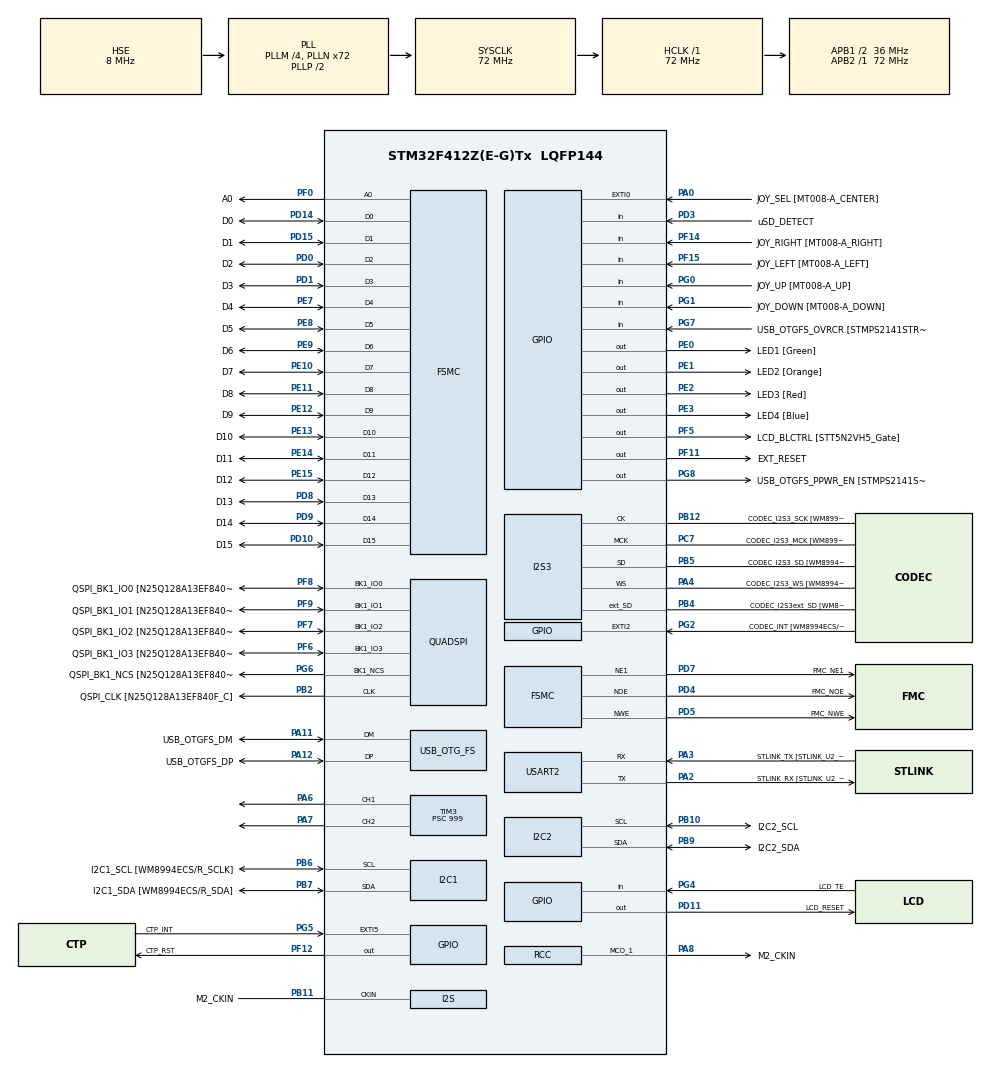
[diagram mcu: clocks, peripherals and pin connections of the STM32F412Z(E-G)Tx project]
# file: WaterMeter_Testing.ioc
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FREERTOS.Queues01=xQueuePower,3,POWER_t,0,Dynamic,NULL,NULL;xQueueMaxCurrent,10,float,0,Dynamic,NULL,NULL;xQueueLCDMaxCurrent,1,uint32_t,0,Dynamic,NULL,NULL;xQueueSensMaxCurrent,1,uint8_t,0,Dynamic,NULL,NULL;xQueueRstMaxCurrent,1,uint8_t,0,Dynamic,NULL,NULL
FREERTOS.Tasks01=defaultTask,24,128,StartDefaultTask,Default,NULL,Dynamic,NULL,NULL;LCDTask,9,128,StartLCDTask,Default,NULL,Dynamic,NULL,NULL;QspiTask,10,128,StartQspiTask,Default,NULL,Dynamic,NULL,NULL;sensTask,8,128,StartSensTask,Default,NULL,Dynamic,NULL,NULL;LightSensTask,8,128,StartLightSensTask,Default,NULL,Dynamic,NULL,NULL;GenWaterTask,10,128,StartGenWaterTask,Default,NULL,Dynamic,NULL,NULL
FREERTOS.configUSE_NEWLIB_REENTRANT=1
I2C2.I2C_Mode=I2C_Standard
I2S3.AudioFreq=I2S_AUDIOFREQ_32K
I2S3.ErrorAudioFreq=1.72 %
I2S3.FullDuplexMode=I2S_FULLDUPLEXMODE_ENABLE
I2S3.Instance=SPI$Index
I2S3.RealAudioFreq=32.552 KHz
I2S3.VirtualMode=I2S_MODE_MASTER
Mcu.Family=STM32F4
Mcu.Name=STM32F412Z(E-G)Tx
Mcu.Package=LQFP144
NVIC.EXTI0_IRQn=true\:5\:0\:false\:false\:true\:true\:true\:true\:true
NVIC.OTG_FS_IRQn=true\:5\:0\:false\:false\:true\:true\:true\:true\:true
NVIC.PriorityGroup=NVIC_PRIORITYGROUP_4
NVIC.TIM6_IRQn=true\:15\:0\:false\:false\:true\:false\:false\:true\:true
NVIC.TimeBase=TIM6_IRQn
NVIC.TimeBaseIP=TIM6
PA0.GPIO_Label=JOY_SEL [MT008-A_CENTER]
PA0.Signal=GPXTI0
PA10.GPIO_Label=USB_OTGFS_ID
PA10.Signal=USB_OTG_FS_ID
PA11.GPIO_Label=USB_OTGFS_DM
PA11.Mode=Host_Only
PA11.Signal=USB_OTG_FS_DM
PA12.GPIO_Label=USB_OTGFS_DP
PA12.Mode=Host_Only
PA12.Signal=USB_OTG_FS_DP
PA13.GPIO_Label=SWDIO
PA13.Mode=Serial_Wire
PA13.Signal=SYS_JTMS-SWDIO
PA14.GPIO_Label=SWCLK
PA14.Mode=Serial_Wire
PA14.Signal=SYS_JTCK-SWCLK
PA2.GPIO_Label=STLINK_RX [STLINK_U2_RX]
PA2.Mode=Asynchronous
PA2.Signal=USART2_TX
PA3.GPIO_Label=STLINK_TX [STLINK_U2_TX]
PA3.Mode=Asynchronous
PA3.Signal=USART2_RX
PA4.GPIO_Label=CODEC_I2S3_WS [WM8994ECS/R_LRCLK1]
PA4.Mode=Full_Duplex_Master
PA4.Signal=I2S3_WS
PA6.Signal=S_TIM3_CH1
PA7.Signal=S_TIM3_CH2
PA8.GPIO_Label=M2_CKIN
PA8.Mode=Clock-out-1
PA8.Signal=RCC_MCO_1
PA9.GPIO_Label=USB_OTGFS_VBUS
PA9.Signal=USB_OTG_FS_VBUS
PB1.GPIO_Label=DFSDM_DATIN0 [MP34DT01TR_DOUT]
PB1.Signal=S_DATAIN0DFSDM1
PB10.GPIO_Label=I2C2_SCL
PB10.GPIO_Pu=GPIO_PULLUP
PB10.Mode=I2C
PB10.Signal=I2C2_SCL
PB11.GPIO_Label=M2_CKIN
PB11.Mode=Audio_ClockIn
PB11.Signal=I2S_CKIN
PB12.GPIO_Label=CODEC_I2S3_SCK [WM8994ECS/R_BCLK1]
PB12.Mode=Full_Duplex_Master
PB12.Signal=I2S3_CK
PB2.GPIO_Label=QSPI_CLK [N25Q128A13EF840F_C]
PB2.Mode=Single Bank 1
PB2.Signal=QUADSPI_CLK
PB3.GPIO_Label=SWO
PB3.Signal=SYS_JTDO-SWO
PB4.GPIO_Label=CODEC_I2S3ext_SD [WM8994ECS/R_ACDAT1]
PB4.Mode=Full_Duplex_Master
PB4.Signal=I2S3_ext_SD
PB5.GPIO_Label=CODEC_I2S3_SD [WM8994ECS/R_DACDAT1]
PB5.Mode=Full_Duplex_Master
PB5.Signal=I2S3_SD
PB6.GPIO_Label=I2C1_SCL [WM8994ECS/R_SCLK]
PB6.GPIO_Pu=GPIO_PULLUP
PB6.Mode=I2C
PB6.Signal=I2C1_SCL
PB7.GPIO_Label=I2C1_SDA [WM8994ECS/R_SDA]
PB7.GPIO_Pu=GPIO_PULLUP
PB7.Mode=I2C
PB7.Signal=I2C1_SDA
PB9.GPIO_Label=I2C2_SDA
PB9.GPIO_Pu=GPIO_PULLUP
PB9.Mode=I2C
PB9.Signal=I2C2_SDA
PC14-OSC32_IN.Mode=LSE-External-Oscillator
PC14-OSC32_IN.Signal=RCC_OSC32_IN
PC15-OSC32_OUT.Mode=LSE-External-Oscillator
PC15-OSC32_OUT.Signal=RCC_OSC32_OUT
PC2.GPIO_Label=DFSDM_CKOUT [MP34DT01TR_CLK]
PC2.Signal=S_CKOUTDFSDM1
PC7.GPIO_Label=CODEC_I2S3_MCK [WM8994ECS/R_MCLK1]
PC7.Mode=Master_Clock_Activated
PC7.Signal=I2S3_MCK
PD0.GPIO_Label=D2
PD0.Signal=FSMC_D2_DA2
PD1.GPIO_Label=D3
PD1.Signal=FSMC_D3_DA3
PD10.GPIO_Label=D15
PD10.Signal=FSMC_D15_DA15
PD11.GPIO_Label=LCD_RESET
PD11.Signal=GPIO_Output
PD14.GPIO_Label=D0
PD14.Signal=FSMC_D0_DA0
PD15.GPIO_Label=D1
PD15.Signal=FSMC_D1_DA1
PD3.GPIO_Label=uSD_DETECT
PD3.Signal=GPIO_Input
PD4.GPIO_Label=FMC_NOE
PD4.Signal=FSMC_NOE
PD5.GPIO_Label=FMC_NWE
PD5.Signal=FSMC_NWE
PD7.GPIO_Label=FMC_NE1
PD7.Mode=NorPsramChipSelect1_1
PD7.Signal=FSMC_NE1
PD8.GPIO_Label=D13
PD8.Signal=FSMC_D13_DA13
PD9.GPIO_Label=D14
PD9.Signal=FSMC_D14_DA14
PE0.GPIO_Label=LED1 [Green]
PE0.GPIO_ModeDefaultOutputPP=GPIO_MODE_OUTPUT_OD
PE0.Signal=GPIO_Output
PE1.GPIO_Label=LED2 [Orange]
PE1.GPIO_ModeDefaultOutputPP=GPIO_MODE_OUTPUT_OD
PE1.Signal=GPIO_Output
PE10.GPIO_Label=D7
PE10.Signal=FSMC_D7_DA7
PE11.GPIO_Label=D8
PE11.Signal=FSMC_D8_DA8
PE12.GPIO_Label=D9
PE12.Signal=FSMC_D9_DA9
PE13.GPIO_Label=D10
PE13.Signal=FSMC_D10_DA10
PE14.GPIO_Label=D11
PE14.Signal=FSMC_D11_DA11
PE15.GPIO_Label=D12
PE15.Signal=FSMC_D12_DA12
PE2.GPIO_Label=LED3 [Red]
PE2.GPIO_ModeDefaultOutputPP=GPIO_MODE_OUTPUT_OD
PE2.Signal=GPIO_Output
PE3.GPIO_Label=LED4 [Blue]
PE3.GPIO_ModeDefaultOutputPP=GPIO_MODE_OUTPUT_OD
PE3.Signal=GPIO_Output
PE4.GPIO_Label=DFSDM_DATIN3 [MP23DB01MM_DOUT]
PE4.Signal=S_DATAIN3DFSDM1
PE7.GPIO_Label=D4
PE7.Signal=FSMC_D4_DA4
PE8.GPIO_Label=D5
PE8.Signal=FSMC_D5_DA5
PE9.GPIO_Label=D6
PE9.Signal=FSMC_D6_DA6
PF0.GPIO_Label=A0
PF0.Signal=FSMC_A0
PF11.GPIO_Label=EXT_RESET
PF11.Signal=GPIO_Output
PF12.GPIO_Label=CTP_RST
PF12.Signal=GPIO_Output
PF14.GPIO_Label=JOY_RIGHT [MT008-A_RIGHT]
PF14.Signal=GPIO_Input
PF15.GPIO_Label=JOY_LEFT [MT008-A_LEFT]
PF15.Signal=GPIO_Input
PF5.GPIO_Label=LCD_BLCTRL [STT5N2VH5_Gate]
PF5.Signal=GPIO_Output
PF6.GPIO_Label=QSPI_BK1_IO3 [N25Q128A13EF840F_DQ3]
PF6.Mode=Single Bank 1
PF6.Signal=QUADSPI_BK1_IO3
PF7.GPIO_Label=QSPI_BK1_IO2 [N25Q128A13EF840F_DQ2]
PF7.Mode=Single Bank 1
PF7.Signal=QUADSPI_BK1_IO2
PF8.GPIO_Label=QSPI_BK1_IO0 [N25Q128A13EF840F_DQ0]
PF8.Mode=Single Bank 1
PF8.Signal=QUADSPI_BK1_IO0
PF9.GPIO_Label=QSPI_BK1_IO1 [N25Q128A13EF840F_DQ1]
PF9.Mode=Single Bank 1
PF9.Signal=QUADSPI_BK1_IO1
PG0.GPIO_Label=JOY_UP [MT008-A_UP]
PG0.Signal=GPIO_Input
PG1.GPIO_Label=JOY_DOWN [MT008-A_DOWN]
PG1.Signal=GPIO_Input
PG2.GPIO_Label=CODEC_INT [WM8994ECS/R_ADCLRCLK1/GPIO1]
PG2.Signal=GPXTI2
PG4.GPIO_Label=LCD_TE
PG4.Signal=GPIO_Input
PG5.GPIO_Label=CTP_INT
PG5.Signal=GPXTI5
PG6.GPIO_Label=QSPI_BK1_NCS [N25Q128A13EF840F_S]
PG6.Mode=Single Bank 1
PG6.Signal=QUADSPI_BK1_NCS
PG7.GPIO_Label=USB_OTGFS_OVRCR [STMPS2141STR_FAULT]
PG7.Signal=GPIO_Input
PG8.GPIO_Label=USB_OTGFS_PPWR_EN [STMPS2141STR_EN]
PG8.GPIO_ModeDefaultOutputPP=GPIO_MODE_OUTPUT_OD
PG8.PinState=GPIO_PIN_SET
PG8.Signal=GPIO_Output
PH0\ -\ OSC_IN.GPIO_Label=STLK_MCO
PH0\ -\ OSC_IN.Mode=HSE-External-Clock-Source
PH0\ -\ OSC_IN.Signal=RCC_OSC_IN
PH1\ -\ OSC_OUT.Mode=HSE-External-Clock-Source
PH1\ -\ OSC_OUT.Signal=RCC_OSC_OUT
ProjectManager.HeapSize=0x200
ProjectManager.StackSize=0x400
ProjectManager.TargetToolchain=STM32CubeIDE
QUADSPI.ChipSelectHighTime=QSPI_CS_HIGH_TIME_5_CYCLE
QUADSPI.ClockPrescaler=0
QUADSPI.FifoThreshold=4
QUADSPI.FlashSize=24
QUADSPI.SampleShifting=QSPI_SAMPLE_SHIFTING_HALFCYCLE
RCC.48MHZClocksFreq_Value=48000000
RCC.AHBFreq_Value=72000000
RCC.APB1CLKDivider=RCC_HCLK_DIV2
RCC.APB1Freq_Value=36000000
RCC.APB1TimFreq_Value=72000000
RCC.APB2Freq_Value=72000000
RCC.APB2TimFreq_Value=72000000
RCC.CortexFreq_Value=72000000
RCC.HCLKFreq_Value=72000000
RCC.HSE_VALUE=8000000
RCC.HSI_VALUE=16000000
RCC.PLLI2SM=4
RCC.PLLI2SN=50
RCC.PLLM=4
RCC.PLLN=72
RCC.PLLQ=3
RCC.SYSCLKFreq_VALUE=72000000
RCC.SYSCLKSource=RCC_SYSCLKSOURCE_PLLCLK
RCC.USBFreq_Value=48000000
RCC.VCOOutputFreq_Value=144000000
SH.FSMC_A0.0=FSMC_A0,A0_1
SH.FSMC_D0_DA0.0=FSMC_D0,16b-d1
SH.FSMC_D10_DA10.0=FSMC_D10,16b-d1
SH.FSMC_D11_DA11.0=FSMC_D11,16b-d1
SH.FSMC_D12_DA12.0=FSMC_D12,16b-d1
SH.FSMC_D13_DA13.0=FSMC_D13,16b-d1
SH.FSMC_D14_DA14.0=FSMC_D14,16b-d1
SH.FSMC_D15_DA15.0=FSMC_D15,16b-d1
SH.FSMC_D1_DA1.0=FSMC_D1,16b-d1
SH.FSMC_D2_DA2.0=FSMC_D2,16b-d1
SH.FSMC_D3_DA3.0=FSMC_D3,16b-d1
SH.FSMC_D4_DA4.0=FSMC_D4,16b-d1
SH.FSMC_D5_DA5.0=FSMC_D5,16b-d1
SH.FSMC_D6_DA6.0=FSMC_D6,16b-d1
SH.FSMC_D7_DA7.0=FSMC_D7,16b-d1
SH.FSMC_D8_DA8.0=FSMC_D8,16b-d1
SH.FSMC_D9_DA9.0=FSMC_D9,16b-d1
SH.FSMC_NOE.0=FSMC_NOE,Lcd1
SH.FSMC_NWE.0=FSMC_NWE,Lcd1
SH.S_CKOUTDFSDM1.0=DFSDM1_CKOUT
SH.S_DATAIN0DFSDM1.0=DFSDM1_DATIN0
SH.S_DATAIN3DFSDM1.0=DFSDM1_DATIN3
SH.S_TIM3_CH1.0=TIM3_CH1,Output Compare1 CH1
SH.S_TIM3_CH2.0=TIM3_CH2,Output Compare2 CH2
STMicroelectronics.X-CUBE-TOUCHGFX.4.20.0.tgfx_custom_height=240
STMicroelectronics.X-CUBE-TOUCHGFX.4.20.0.tgfx_custom_width=240
STMicroelectronics.X-CUBE-TOUCHGFX.4.20.0.tgfx_datareader=Disabled
STMicroelectronics.X-CUBE-TOUCHGFX.4.20.0.tgfx_display_interface=disp_fmc
STMicroelectronics.X-CUBE-TOUCHGFX.4.20.0_IsPackSelfContextualization=true
TIM3.AutoReloadPreload=TIM_AUTORELOAD_PRELOAD_ENABLE
TIM3.Channel-Output\ Compare1\ CH1=TIM_CHANNEL_1
TIM3.Channel-Output\ Compare2\ CH2=TIM_CHANNEL_2
TIM3.OCMode_1=TIM_OCMODE_TOGGLE
TIM3.OCMode_2=TIM_OCMODE_TOGGLE
TIM3.Period=142
TIM3.Prescaler=999
TIM3.Pulse-Output\ Compare1\ CH1=34
TIM3.Pulse-Output\ Compare2\ CH2=2
TIM3.TIM_MasterOutputTrigger=TIM_TRGO_UPDATE
USART2.VirtualMode=VM_ASYNC
USB_HOST.BSP.number=1
USB_HOST.USBH_HandleTypeDef=hUsbHostFS
USB_HOST.VirtualModeFS=Cdc
USB_HOST0.BSP.STBoard=false
USB_HOST0.BSP.api=Unknown
USB_HOST0.BSP.instance=PG8
USB_HOST0.BSP.ip=GPIO
USB_HOST0.BSP.mode=Output
USB_HOST0.BSP.name=Drive_VBUS_FS
USB_HOST0.BSP.solution=PG8
USB_OTG_FS.VirtualMode=Host_Only
USB_OTG_FS.phy_itface=HCD_PHY_EMBEDDED
VP_CRC_VS_CRC.Mode=CRC_Activate
VP_FREERTOS_VS_CMSIS_V2.Mode=CMSIS_V2
VP_SYS_VS_tim6.Mode=TIM6
VP_USB_HOST_VS_USB_HOST_CDC_FS.Mode=CDC_FS
board=STM32F412G-DISCO

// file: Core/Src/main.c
/* USER CODE BEGIN Header */
/**
  ******************************************************************************
  * @file           : main.c
  * @brief          : Main program body
  ******************************************************************************
  * @attention
  *
  * Copyright (c) 2022 STMicroelectronics.
  * All rights reserved.
  *
  * This software is licensed under terms that can be found in the LICENSE file
  * in the root directory of this software component.
  * If no LICENSE file comes with this software, it is provided AS-IS.
  *
  ******************************************************************************
  */
/* USER CODE END Header */
#include "main.h"
#include "cmsis_os.h"
#include "usb_host.h"

/* USER CODE BEGIN PTD */
#define  CIRCLE_RADIUS        37
/* USER CODE END PTD */

CRC_HandleTypeDef hcrc;

I2C_HandleTypeDef hi2c1;
I2C_HandleTypeDef hi2c2;

I2S_HandleTypeDef hi2s3;

QSPI_HandleTypeDef hqspi;

TIM_HandleTypeDef htim3;

UART_HandleTypeDef huart2;

SRAM_HandleTypeDef hsram1;

/* Definitions for defaultTask */
osThreadId_t defaultTaskHandle;
const osThreadAttr_t defaultTask_attributes = {
  .name = "defaultTask",
  .stack_size = 128 * 4,
  .priority = (osPriority_t) osPriorityNormal,
};
/* Definitions for LCDTask */
osThreadId_t LCDTaskHandle;
const osThreadAttr_t LCDTask_attributes = {
  .name = "LCDTask",
  .stack_size = 128 * 4,
  .priority = (osPriority_t) osPriorityLow1,
};
/* Definitions for QspiTask */
osThreadId_t QspiTaskHandle;
const osThreadAttr_t QspiTask_attributes = {
  .name = "QspiTask",
  .stack_size = 128 * 4,
  .priority = (osPriority_t) osPriorityLow2,
};
/* Definitions for sensTask */
osThreadId_t sensTaskHandle;
const osThreadAttr_t sensTask_attributes = {
  .name = "sensTask",
  .stack_size = 128 * 4,
  .priority = (osPriority_t) osPriorityLow,
};
/* Definitions for GenWaterTask */
osThreadId_t GenWaterTaskHandle;
const osThreadAttr_t GenWaterTask_attributes = {
  .name = "GenWaterTask",
  .stack_size = 128 * 4,
  .priority = (osPriority_t) osPriorityLow2,
};
/* Definitions for xQueuePower */
osMessageQueueId_t xQueuePowerHandle;
const osMessageQueueAttr_t xQueuePower_attributes = {
  .name = "xQueuePower"
};
/* Definitions for xQueueMaxCurrent */
osMessageQueueId_t xQueueMaxCurrentHandle;
const osMessageQueueAttr_t xQueueMaxCurrent_attributes = {
  .name = "xQueueMaxCurrent"
};
/* Definitions for xQueueLCDMaxCurrent */
osMessageQueueId_t xQueueLCDMaxCurrentHandle;
const osMessageQueueAttr_t xQueueLCDMaxCurrent_attributes = {
  .name = "xQueueLCDMaxCurrent"
};
/* Definitions for xQueueSensMaxCurrent */
osMessageQueueId_t xQueueSensMaxCurrentHandle;
const osMessageQueueAttr_t xQueueSensMaxCurrent_attributes = {
  .name = "xQueueSensMaxCurrent"
};
/* Definitions for xQueueRstMaxCurrent */
osMessageQueueId_t xQueueRstMaxCurrentHandle;
const osMessageQueueAttr_t xQueueRstMaxCurrent_attributes = {
  .name = "xQueueRstMaxCurrent"
};
/* USER CODE BEGIN PV */
//uint32_t ts_count = 0;
TS_StateTypeDef  TS_State = {0};
//__attribute__((section(".noinit")))
/* USER CODE END PV */

void SystemClock_Config(void);
static void MX_GPIO_Init(void);
static void MX_FSMC_Init(void);
static void MX_I2C1_Init(void);
static void MX_I2C2_Init(void);
static void MX_I2S3_Init(void);
static void MX_QUADSPI_Init(void);
static void MX_USART2_UART_Init(void);
static void MX_CRC_Init(void);
static void MX_TIM3_Init(void);
void StartDefaultTask(void *argument);
void StartLCDTask(void *argument);
void StartQspiTask(void *argument);
void StartSensTask(void *argument);
void StartLightSensTask(void *argument);
void StartGenWaterTask(void *argument);

/* USER CODE BEGIN 0 */
void _putchar(char character)
{
//    ITM_SendChar(character);
    HAL_UART_Transmit(&huart2, &character, 1, 100);
}

void lcd_initialization()
{
    BSP_LCD_Init();
    BSP_LCD_Clear(LCD_COLOR_GRAY);
    BSP_LCD_SetBackColor(LCD_COLOR_GRAY);
    BSP_LCD_SetTextColor(LCD_COLOR_BLUE);
    BSP_LCD_SetFont(&Font24);
}

void lcd_display_message(uint16_t LINE, uint32_t val, float val2, char* msg_str)
{
    static uint8_t dataQueue[16];
    sprintf((char *) dataQueue, msg_str, val2 ? val2 : val);
    BSP_LCD_DisplayStringAt(0, LINE, dataQueue, LEFT_MODE);
}
/* USER CODE END 0 */

int main(void)
{

  /* MCU Configuration--------------------------------------------------------*/

  /* Reset of all peripherals, Initializes the Flash interface and the Systick. */
  HAL_Init();

  /* Configure the system clock */
  SystemClock_Config();

  /* Initialize all configured peripherals */
  MX_GPIO_Init();
  MX_FSMC_Init();
  MX_I2C1_Init();
  MX_I2C2_Init();
  MX_I2S3_Init();
  MX_QUADSPI_Init();
  MX_USART2_UART_Init();
  MX_CRC_Init();
  MX_TIM3_Init();

  /* Init scheduler */
  osKernelInitialize();

  /* Create the queue(s) */
  /* creation of xQueuePower */
  xQueuePowerHandle = osMessageQueueNew (3, sizeof(POWER_t), &xQueuePower_attributes);

  /* creation of xQueueMaxCurrent */
  xQueueMaxCurrentHandle = osMessageQueueNew (10, sizeof(float), &xQueueMaxCurrent_attributes);

  /* creation of xQueueLCDMaxCurrent */
  xQueueLCDMaxCurrentHandle = osMessageQueueNew (1, sizeof(uint32_t), &xQueueLCDMaxCurrent_attributes);

  /* creation of xQueueSensMaxCurrent */
  xQueueSensMaxCurrentHandle = osMessageQueueNew (1, sizeof(uint8_t), &xQueueSensMaxCurrent_attributes);

  /* creation of xQueueRstMaxCurrent */
  xQueueRstMaxCurrentHandle = osMessageQueueNew (1, sizeof(uint8_t), &xQueueRstMaxCurrent_attributes);

  /* Create the thread(s) */
  /* creation of defaultTask */
  defaultTaskHandle = osThreadNew(StartDefaultTask, NULL, &defaultTask_attributes);

  /* creation of LCDTask */
  LCDTaskHandle = osThreadNew(StartLCDTask, NULL, &LCDTask_attributes);

  /* creation of QspiTask */
  QspiTaskHandle = osThreadNew(StartQspiTask, NULL, &QspiTask_attributes);

  /* creation of sensTask */
  sensTaskHandle = osThreadNew(StartSensTask, NULL, &sensTask_attributes);

  /* creation of LightSensTask */
//  LightSensTaskHandle = osThreadNew(StartLightSensTask, NULL, &LightSensTask_attributes);

  /* creation of GenWaterTask */
//  GenWaterTaskHandle = osThreadNew(StartGenWaterTask, NULL, &GenWaterTask_attributes);

  /* Start scheduler */
  osKernelStart();

  /* We should never get here as control is now taken by the scheduler */
  /* Infinite loop */
  /* USER CODE BEGIN WHILE */
    printf("START");

//    HAL_TIM_OC_Start(&htim3, TIM_CHANNEL_2);
//    HAL_I2C_Master_Seq_Transmit_DMA()

  while (1)
  {
    /* USER CODE END WHILE */

    /* USER CODE BEGIN 3 */

//            if(TS_State.touchDetected)
//      {
//          x1 = TS_State.touchX[0];
//          y1 = TS_State.touchY[0];
//
//          if((y1>83) && (y1<157)){
//              BSP_LCD_SetTextColor(LCD_COLOR_BLUE);
//              BSP_LCD_FillCircle(60, 120, CIRCLE_RADIUS);
//              BSP_LCD_SetTextColor(LCD_COLOR_WHITE);
//              BSP_LCD_FillCircle(180, 120, CIRCLE_RADIUS-1);
//              BSP_LCD_FillCircle(60, 200, CIRCLE_RADIUS-1);
//              BSP_LCD_FillCircle(180, 200, CIRCLE_RADIUS-1);
//          }
//      }

  }
  /* USER CODE END 3 */
}

void SystemClock_Config(void)
{
  RCC_OscInitTypeDef RCC_OscInitStruct = {0};
  RCC_ClkInitTypeDef RCC_ClkInitStruct = {0};

  /** Configure the main internal regulator output voltage
  */
  __HAL_RCC_PWR_CLK_ENABLE();
  __HAL_PWR_VOLTAGESCALING_CONFIG(PWR_REGULATOR_VOLTAGE_SCALE1);

  /** Initializes the RCC Oscillators according to the specified parameters
  * in the RCC_OscInitTypeDef structure.
  */
  RCC_OscInitStruct.OscillatorType = RCC_OSCILLATORTYPE_HSI|RCC_OSCILLATORTYPE_HSE;
  RCC_OscInitStruct.HSEState = RCC_HSE_BYPASS;
  RCC_OscInitStruct.HSIState = RCC_HSI_ON;
  RCC_OscInitStruct.HSICalibrationValue = RCC_HSICALIBRATION_DEFAULT;
  RCC_OscInitStruct.PLL.PLLState = RCC_PLL_ON;
  RCC_OscInitStruct.PLL.PLLSource = RCC_PLLSOURCE_HSE;
  RCC_OscInitStruct.PLL.PLLM = 4;
  RCC_OscInitStruct.PLL.PLLN = 72;
  RCC_OscInitStruct.PLL.PLLP = RCC_PLLP_DIV2;
  RCC_OscInitStruct.PLL.PLLQ = 3;
  RCC_OscInitStruct.PLL.PLLR = 2;
  if (HAL_RCC_OscConfig(&RCC_OscInitStruct) != HAL_OK)
  {
    Error_Handler();
  }

  /** Initializes the CPU, AHB and APB buses clocks
  */
  RCC_ClkInitStruct.ClockType = RCC_CLOCKTYPE_HCLK|RCC_CLOCKTYPE_SYSCLK
                              |RCC_CLOCKTYPE_PCLK1|RCC_CLOCKTYPE_PCLK2;
  RCC_ClkInitStruct.SYSCLKSource = RCC_SYSCLKSOURCE_PLLCLK;
  RCC_ClkInitStruct.AHBCLKDivider = RCC_SYSCLK_DIV1;
  RCC_ClkInitStruct.APB1CLKDivider = RCC_HCLK_DIV2;
  RCC_ClkInitStruct.APB2CLKDivider = RCC_HCLK_DIV1;

  if (HAL_RCC_ClockConfig(&RCC_ClkInitStruct, FLASH_LATENCY_2) != HAL_OK)
  {
    Error_Handler();
  }
  HAL_RCC_MCOConfig(RCC_MCO1, RCC_MCO1SOURCE_HSI, RCC_MCODIV_1);
}

static void MX_CRC_Init(void)
{

  hcrc.Instance = CRC;
  if (HAL_CRC_Init(&hcrc) != HAL_OK)
  {
    Error_Handler();
  }

}

static void MX_I2C1_Init(void)
{

  hi2c1.Instance = I2C1;
  hi2c1.Init.ClockSpeed = 100000;
  hi2c1.Init.DutyCycle = I2C_DUTYCYCLE_2;
  hi2c1.Init.OwnAddress1 = 0;
  hi2c1.Init.AddressingMode = I2C_ADDRESSINGMODE_7BIT;
  hi2c1.Init.DualAddressMode = I2C_DUALADDRESS_DISABLE;
  hi2c1.Init.OwnAddress2 = 0;
  hi2c1.Init.GeneralCallMode = I2C_GENERALCALL_DISABLE;
  hi2c1.Init.NoStretchMode = I2C_NOSTRETCH_DISABLE;
  if (HAL_I2C_Init(&hi2c1) != HAL_OK)
  {
    Error_Handler();
  }

}

static void MX_I2C2_Init(void)
{

  hi2c2.Instance = I2C2;
  hi2c2.Init.ClockSpeed = 100000;
  hi2c2.Init.DutyCycle = I2C_DUTYCYCLE_2;
  hi2c2.Init.OwnAddress1 = 0;
  hi2c2.Init.AddressingMode = I2C_ADDRESSINGMODE_7BIT;
  hi2c2.Init.DualAddressMode = I2C_DUALADDRESS_DISABLE;
  hi2c2.Init.OwnAddress2 = 0;
  hi2c2.Init.GeneralCallMode = I2C_GENERALCALL_DISABLE;
  hi2c2.Init.NoStretchMode = I2C_NOSTRETCH_DISABLE;
  if (HAL_I2C_Init(&hi2c2) != HAL_OK)
  {
    Error_Handler();
  }

}

static void MX_I2S3_Init(void)
{

  hi2s3.Instance = SPI3;
  hi2s3.Init.Mode = I2S_MODE_MASTER_TX;
  hi2s3.Init.Standard = I2S_STANDARD_PHILIPS;
  hi2s3.Init.DataFormat = I2S_DATAFORMAT_16B;
  hi2s3.Init.MCLKOutput = I2S_MCLKOUTPUT_ENABLE;
  hi2s3.Init.AudioFreq = I2S_AUDIOFREQ_32K;
  hi2s3.Init.CPOL = I2S_CPOL_LOW;
  hi2s3.Init.ClockSource = I2S_CLOCK_PLL;
  hi2s3.Init.FullDuplexMode = I2S_FULLDUPLEXMODE_ENABLE;
  if (HAL_I2S_Init(&hi2s3) != HAL_OK)
  {
    Error_Handler();
  }

}

static void MX_QUADSPI_Init(void)
{

  /* QUADSPI parameter configuration*/
  hqspi.Instance = QUADSPI;
  hqspi.Init.ClockPrescaler = 0;
  hqspi.Init.FifoThreshold = 4;
  hqspi.Init.SampleShifting = QSPI_SAMPLE_SHIFTING_HALFCYCLE;
  hqspi.Init.FlashSize = 24;
  hqspi.Init.ChipSelectHighTime = QSPI_CS_HIGH_TIME_5_CYCLE;
  hqspi.Init.ClockMode = QSPI_CLOCK_MODE_0;
  hqspi.Init.FlashID = QSPI_FLASH_ID_1;
  hqspi.Init.DualFlash = QSPI_DUALFLASH_DISABLE;
  if (HAL_QSPI_Init(&hqspi) != HAL_OK)
  {
    Error_Handler();
  }

}

static void MX_TIM3_Init(void)
{

  TIM_MasterConfigTypeDef sMasterConfig = {0};
  TIM_OC_InitTypeDef sConfigOC = {0};

  htim3.Instance = TIM3;
  htim3.Init.Prescaler = 999;
  htim3.Init.CounterMode = TIM_COUNTERMODE_UP;
  htim3.Init.Period = 142;
  htim3.Init.ClockDivision = TIM_CLOCKDIVISION_DIV1;
  htim3.Init.AutoReloadPreload = TIM_AUTORELOAD_PRELOAD_ENABLE;
  if (HAL_TIM_OC_Init(&htim3) != HAL_OK)
  {
    Error_Handler();
  }
  sMasterConfig.MasterOutputTrigger = TIM_TRGO_UPDATE;
  sMasterConfig.MasterSlaveMode = TIM_MASTERSLAVEMODE_DISABLE;
  if (HAL_TIMEx_MasterConfigSynchronization(&htim3, &sMasterConfig) != HAL_OK)
  {
    Error_Handler();
  }
  sConfigOC.OCMode = TIM_OCMODE_TOGGLE;
  sConfigOC.Pulse = 34;
  sConfigOC.OCPolarity = TIM_OCPOLARITY_HIGH;
  sConfigOC.OCFastMode = TIM_OCFAST_DISABLE;
  if (HAL_TIM_OC_ConfigChannel(&htim3, &sConfigOC, TIM_CHANNEL_1) != HAL_OK)
  {
    Error_Handler();
  }
  sConfigOC.Pulse = 2;
  if (HAL_TIM_OC_ConfigChannel(&htim3, &sConfigOC, TIM_CHANNEL_2) != HAL_OK)
  {
    Error_Handler();
  }
  HAL_TIM_MspPostInit(&htim3);

}

static void MX_USART2_UART_Init(void)
{

  huart2.Instance = USART2;
  huart2.Init.BaudRate = 115200;
  huart2.Init.WordLength = UART_WORDLENGTH_8B;
  huart2.Init.StopBits = UART_STOPBITS_1;
  huart2.Init.Parity = UART_PARITY_NONE;
  huart2.Init.Mode = UART_MODE_TX_RX;
  huart2.Init.HwFlowCtl = UART_HWCONTROL_NONE;
  huart2.Init.OverSampling = UART_OVERSAMPLING_16;
  if (HAL_UART_Init(&huart2) != HAL_OK)
  {
    Error_Handler();
  }

}

static void MX_GPIO_Init(void)
{
  GPIO_InitTypeDef GPIO_InitStruct = {0};

  /* GPIO Ports Clock Enable */
  __HAL_RCC_GPIOE_CLK_ENABLE();
  __HAL_RCC_GPIOC_CLK_ENABLE();
  __HAL_RCC_GPIOF_CLK_ENABLE();
  __HAL_RCC_GPIOH_CLK_ENABLE();
  __HAL_RCC_GPIOA_CLK_ENABLE();
  __HAL_RCC_GPIOB_CLK_ENABLE();
  __HAL_RCC_GPIOG_CLK_ENABLE();
  __HAL_RCC_GPIOD_CLK_ENABLE();

  /*Configure GPIO pin Output Level */
  HAL_GPIO_WritePin(GPIOE, LED3_Pin|LED4_Pin|LED1_Pin|LED2_Pin, GPIO_PIN_RESET);

  /*Configure GPIO pin Output Level */
  HAL_GPIO_WritePin(GPIOF, LCD_BLCTRL_Pin|EXT_RESET_Pin|CTP_RST_Pin, GPIO_PIN_RESET);

  /*Configure GPIO pin Output Level */
  HAL_GPIO_WritePin(LCD_RESET_GPIO_Port, LCD_RESET_Pin, GPIO_PIN_RESET);

  /*Configure GPIO pin Output Level */
  HAL_GPIO_WritePin(USB_OTGFS_PPWR_EN_GPIO_Port, USB_OTGFS_PPWR_EN_Pin, GPIO_PIN_SET);

  /*Configure GPIO pins : LED3_Pin LED4_Pin LED1_Pin LED2_Pin */
  GPIO_InitStruct.Pin = LED3_Pin|LED4_Pin|LED1_Pin|LED2_Pin;
  GPIO_InitStruct.Mode = GPIO_MODE_OUTPUT_OD;
  GPIO_InitStruct.Pull = GPIO_NOPULL;
  GPIO_InitStruct.Speed = GPIO_SPEED_FREQ_LOW;
  HAL_GPIO_Init(GPIOE, &GPIO_InitStruct);

  /*Configure GPIO pin : DFSDM_DATIN3_Pin */
  GPIO_InitStruct.Pin = DFSDM_DATIN3_Pin;
  GPIO_InitStruct.Mode = GPIO_MODE_AF_PP;
  GPIO_InitStruct.Pull = GPIO_NOPULL;
  GPIO_InitStruct.Speed = GPIO_SPEED_FREQ_LOW;
  GPIO_InitStruct.Alternate = GPIO_AF8_DFSDM1;
  HAL_GPIO_Init(DFSDM_DATIN3_GPIO_Port, &GPIO_InitStruct);

  /*Configure GPIO pins : LCD_BLCTRL_Pin EXT_RESET_Pin CTP_RST_Pin */
  GPIO_InitStruct.Pin = LCD_BLCTRL_Pin|EXT_RESET_Pin|CTP_RST_Pin;
  GPIO_InitStruct.Mode = GPIO_MODE_OUTPUT_PP;
  GPIO_InitStruct.Pull = GPIO_NOPULL;
  GPIO_InitStruct.Speed = GPIO_SPEED_FREQ_LOW;
  HAL_GPIO_Init(GPIOF, &GPIO_InitStruct);

  /*Configure GPIO pin : DFSDM_CKOUT_Pin */
  GPIO_InitStruct.Pin = DFSDM_CKOUT_Pin;
  GPIO_InitStruct.Mode = GPIO_MODE_AF_PP;
  GPIO_InitStruct.Pull = GPIO_NOPULL;
  GPIO_InitStruct.Speed = GPIO_SPEED_FREQ_LOW;
  GPIO_InitStruct.Alternate = GPIO_AF8_DFSDM1;
  HAL_GPIO_Init(DFSDM_CKOUT_GPIO_Port, &GPIO_InitStruct);

  /*Configure GPIO pin : JOY_SEL_Pin */
  GPIO_InitStruct.Pin = JOY_SEL_Pin;
  GPIO_InitStruct.Mode = GPIO_MODE_IT_RISING;
  GPIO_InitStruct.Pull = GPIO_NOPULL;
  HAL_GPIO_Init(JOY_SEL_GPIO_Port, &GPIO_InitStruct);

  /*Configure GPIO pin : DFSDM_DATIN0_Pin */
  GPIO_InitStruct.Pin = DFSDM_DATIN0_Pin;
  GPIO_InitStruct.Mode = GPIO_MODE_AF_PP;
  GPIO_InitStruct.Pull = GPIO_NOPULL;
  GPIO_InitStruct.Speed = GPIO_SPEED_FREQ_LOW;
  GPIO_InitStruct.Alternate = GPIO_AF8_DFSDM1;
  HAL_GPIO_Init(DFSDM_DATIN0_GPIO_Port, &GPIO_InitStruct);

  /*Configure GPIO pins : JOY_RIGHT_Pin JOY_LEFT_Pin */
  GPIO_InitStruct.Pin = JOY_RIGHT_Pin|JOY_LEFT_Pin;
  GPIO_InitStruct.Mode = GPIO_MODE_INPUT;
  GPIO_InitStruct.Pull = GPIO_NOPULL;
  HAL_GPIO_Init(GPIOF, &GPIO_InitStruct);

  /*Configure GPIO pins : JOY_UP_Pin JOY_DOWN_Pin LCD_TE_Pin USB_OTGFS_OVRCR_Pin */
  GPIO_InitStruct.Pin = JOY_UP_Pin|JOY_DOWN_Pin|LCD_TE_Pin|USB_OTGFS_OVRCR_Pin;
  GPIO_InitStruct.Mode = GPIO_MODE_INPUT;
  GPIO_InitStruct.Pull = GPIO_NOPULL;
  HAL_GPIO_Init(GPIOG, &GPIO_InitStruct);

  /*Configure GPIO pin : M2_CKIN_Pin */
  GPIO_InitStruct.Pin = M2_CKIN_Pin;
  GPIO_InitStruct.Mode = GPIO_MODE_AF_PP;
  GPIO_InitStruct.Pull = GPIO_NOPULL;
  GPIO_InitStruct.Speed = GPIO_SPEED_FREQ_LOW;
  GPIO_InitStruct.Alternate = GPIO_AF5_SPI1;
  HAL_GPIO_Init(M2_CKIN_GPIO_Port, &GPIO_InitStruct);

  /*Configure GPIO pin : LCD_RESET_Pin */
  GPIO_InitStruct.Pin = LCD_RESET_Pin;
  GPIO_InitStruct.Mode = GPIO_MODE_OUTPUT_PP;
  GPIO_InitStruct.Pull = GPIO_NOPULL;
  GPIO_InitStruct.Speed = GPIO_SPEED_FREQ_LOW;
  HAL_GPIO_Init(LCD_RESET_GPIO_Port, &GPIO_InitStruct);

  /*Configure GPIO pins : CODEC_INT_Pin CTP_INT_Pin */
  GPIO_InitStruct.Pin = CODEC_INT_Pin|CTP_INT_Pin;
  GPIO_InitStruct.Mode = GPIO_MODE_IT_RISING;
  GPIO_InitStruct.Pull = GPIO_NOPULL;
  HAL_GPIO_Init(GPIOG, &GPIO_InitStruct);

  /*Configure GPIO pin : USB_OTGFS_PPWR_EN_Pin */
  GPIO_InitStruct.Pin = USB_OTGFS_PPWR_EN_Pin;
  GPIO_InitStruct.Mode = GPIO_MODE_OUTPUT_OD;
  GPIO_InitStruct.Pull = GPIO_NOPULL;
  GPIO_InitStruct.Speed = GPIO_SPEED_FREQ_LOW;
  HAL_GPIO_Init(USB_OTGFS_PPWR_EN_GPIO_Port, &GPIO_InitStruct);

  /*Configure GPIO pin : M2_CKINA8_Pin */
  GPIO_InitStruct.Pin = M2_CKINA8_Pin;
  GPIO_InitStruct.Mode = GPIO_MODE_AF_PP;
  GPIO_InitStruct.Pull = GPIO_NOPULL;
  GPIO_InitStruct.Speed = GPIO_SPEED_FREQ_LOW;
  GPIO_InitStruct.Alternate = GPIO_AF0_MCO;
  HAL_GPIO_Init(M2_CKINA8_GPIO_Port, &GPIO_InitStruct);

  /*Configure GPIO pin : uSD_DETECT_Pin */
  GPIO_InitStruct.Pin = uSD_DETECT_Pin;
  GPIO_InitStruct.Mode = GPIO_MODE_INPUT;
  GPIO_InitStruct.Pull = GPIO_NOPULL;
  HAL_GPIO_Init(uSD_DETECT_GPIO_Port, &GPIO_InitStruct);

  /* EXTI interrupt init*/
  HAL_NVIC_SetPriority(EXTI0_IRQn, 5, 0);
  HAL_NVIC_EnableIRQ(EXTI0_IRQn);

}

/* FSMC initialization function */
static void MX_FSMC_Init(void)
{

  FSMC_NORSRAM_TimingTypeDef Timing = {0};

  /** Perform the SRAM1 memory initialization sequence
  */
  hsram1.Instance = FSMC_NORSRAM_DEVICE;
  hsram1.Extended = FSMC_NORSRAM_EXTENDED_DEVICE;
  /* hsram1.Init */
  hsram1.Init.NSBank = FSMC_NORSRAM_BANK1;
  hsram1.Init.DataAddressMux = FSMC_DATA_ADDRESS_MUX_DISABLE;
  hsram1.Init.MemoryType = FSMC_MEMORY_TYPE_SRAM;
  hsram1.Init.MemoryDataWidth = FSMC_NORSRAM_MEM_BUS_WIDTH_16;
  hsram1.Init.BurstAccessMode = FSMC_BURST_ACCESS_MODE_DISABLE;
  hsram1.Init.WaitSignalPolarity = FSMC_WAIT_SIGNAL_POLARITY_LOW;
  hsram1.Init.WaitSignalActive = FSMC_WAIT_TIMING_BEFORE_WS;
  hsram1.Init.WriteOperation = FSMC_WRITE_OPERATION_ENABLE;
  hsram1.Init.WaitSignal = FSMC_WAIT_SIGNAL_DISABLE;
  hsram1.Init.ExtendedMode = FSMC_EXTENDED_MODE_DISABLE;
  hsram1.Init.AsynchronousWait = FSMC_ASYNCHRONOUS_WAIT_DISABLE;
  hsram1.Init.WriteBurst = FSMC_WRITE_BURST_DISABLE;
  hsram1.Init.ContinuousClock = FSMC_CONTINUOUS_CLOCK_SYNC_ONLY;
  hsram1.Init.WriteFifo = FSMC_WRITE_FIFO_ENABLE;
  hsram1.Init.PageSize = FSMC_PAGE_SIZE_NONE;
  /* Timing */
  Timing.AddressSetupTime = 15;
  Timing.AddressHoldTime = 15;
  Timing.DataSetupTime = 255;
  Timing.BusTurnAroundDuration = 15;
  Timing.CLKDivision = 16;
  Timing.DataLatency = 17;
  Timing.AccessMode = FSMC_ACCESS_MODE_A;
  /* ExtTiming */

  if (HAL_SRAM_Init(&hsram1, &Timing, NULL) != HAL_OK)
  {
    Error_Handler( );
  }

}

void StartDefaultTask(void *argument)
{
  /* init code for USB_HOST */
  MX_USB_HOST_Init();
  /* USER CODE BEGIN 5 */
  /* Infinite loop */
    for (;;) {
        HAL_GPIO_TogglePin(LED2_GPIO_Port, LED2_PIN);
        printf("Task DEF\n");
        osDelay(pdMS_TO_TICKS(500));
//        if(eTaskGetState(sensTaskHandle) != eSuspended){
//            osDelay(pdMS_TO_TICKS(10000));
//            vTaskSuspend(QspiTaskHandle);
//        }
    }
  /* USER CODE END 5 */
}

void StartLCDTask(void *argument)
{
  /* USER CODE BEGIN StartLCDTask */
    POWER_t msg;
    float max_c_dyn;
    uint32_t f_data = 0;

    lcd_initialization();

    BSP_LCD_FillRect(0, BSP_LCD_GetYSize()/2 - 10, BSP_LCD_GetXSize(), 1);

    /* Infinite loop */
    for (;;)
    {
        if (osMessageQueueGet(xQueueLCDMaxCurrentHandle, &f_data, NULL, 10) == osOK)
        {
            BSP_LCD_ClearStringLine(5);
            lcd_display_message(120, f_data, 0, "MAX C = %d");
        }

        if (osMessageQueueGet(xQueueMaxCurrentHandle, &max_c_dyn, NULL, 10) == osOK)
        {
            lcd_display_message(120, 0, max_c_dyn, "MAX C = %.3f");
        }

        if (osMessageQueueGet(xQueuePowerHandle, &msg, NULL, portMAX_DELAY) == osOK) {
            lcd_display_message(47, 0, msg.voltage, "V = %.3f V");
            lcd_display_message(72, 0, msg.current, "C = %.3f mA");
        }

        osDelay(pdMS_TO_TICKS(1));
    }
  /* USER CODE END StartLCDTask */
}

void StartQspiTask(void *argument)
{
  /* USER CODE BEGIN StartQspiTask */
    printf("Task QSPI\n");
    uint8_t qspi_status = QSPI_ERROR;
    uint32_t max_current = 0;
    uint8_t r_data;
    uint8_t* data;
    qspi_status = BSP_QSPI_Init();
    qspi_status = BSP_QSPI_GetStatus();

    printf("QSPI STATUS - %d\n", qspi_status);

    for (uint8_t i = 0; i < 4; i++) {
        if (BSP_QSPI_Read(&r_data, i, sizeof(r_data)) == QSPI_OK) {
            max_current |= r_data << (8 * i);
            printf("r_data%d - %d\n", i, r_data);

        }
    }

    printf("Q_MAX CURRRENT - %b\n", max_current);

    xTaskNotify(sensTaskHandle, max_current, eSetValueWithOverwrite);

    configASSERT(osMessageQueuePut(xQueueLCDMaxCurrentHandle, &max_current, 0, 0) == osOK);

    /* Infinite loop */
  for(;;)
  {
      if (xTaskNotifyWait(0, 0, &max_current, 10) == pdTRUE) {
          printf("Notify max current -> %d\n", max_current);

          if (BSP_QSPI_Erase_Block(0) == QSPI_OK) {
//               data[0] = (uint8_t*)max_current;
              for (uint8_t i = 0; i < 4; i++) {
                  data = (uint8_t *) &max_current + i;

                  if (BSP_QSPI_Write((uint8_t *) &max_current + i, i, sizeof(uint8_t )) == QSPI_OK) {
                      printf("QSPI W - %d\n", *data);
//                  BSP_QSPI_Read(data, 0, sizeof(data));
//                  configASSERT(osMessageQueuePut(xQueueLCDMaxCurrentHandle, &data, 0, 0) == osOK);

//                  xTaskNotify(LCDTaskHandle, max_current, eSetValueWithOverwrite);
                  }
              }
          }

      }

      if (osMessageQueueGet(xQueueRstMaxCurrentHandle, &r_data, NULL, 10) == osOK) {
          if (BSP_QSPI_Erase_Block(0) == QSPI_OK) {
              for (uint8_t i = 0; i < 4; i++) {
                  if (BSP_QSPI_Write(&r_data, i, sizeof(r_data)) == QSPI_OK) {

                  }
              }
              uint32_t r_current = r_data;
              configASSERT(osMessageQueuePut(xQueueLCDMaxCurrentHandle, &r_current, 0, 0) == osOK);
              xTaskNotify(sensTaskHandle, r_current, eSetValueWithOverwrite);
              printf("CURRENT RST - %d\n", r_data);
          }
      }

    osDelay(pdMS_TO_TICKS(10));

  }
  /* USER CODE END StartQspiTask */
}

void StartSensTask(void *argument)
{
  /* USER CODE BEGIN StartSensTask */

    printf("TASK SENS\n");
    POWER_t msg;
    uint8_t data[16];
    float max_current = 0;
    uint32_t f_max_current;

    ina260_t * ina260 = ina260_new(&hi2c2, 0x40);
    ina260_set_config(ina260, iotPower, iomContinuous, ictConvert140us, ictConvert140us, issSample4);
    HAL_StatusTypeDef status_sens = ina260_ready(ina260);

    /* Infinite loop */
    for (;;) {
        if (xTaskNotifyWait(0, 0, &f_max_current, 10) == pdTRUE) {

            sprintf((char *) data, "MAX C = %d", f_max_current);
            max_current = (float)f_max_current;
            printf("SEN TASK NOTIFY - %.3f\n", max_current);
        }

        if(status_sens == HAL_OK){
            ina260_get_voltage(ina260, &msg.voltage);
            ina260_get_current(ina260, &msg.current);
            msg.voltage = msg.voltage / 1000;

        } else{
            printf("SENS ERROR\n");
            msg.voltage = (float)3.34;
            msg.current = (float)2.55;
        }

        configASSERT(osMessageQueuePut(xQueuePowerHandle, &msg, 0, 10) == osOK);

        if (msg.current > max_current)
        {
            max_current = msg.current;
            printf("max current - %.3f\n", max_current);
            configASSERT(osMessageQueuePut(xQueueMaxCurrentHandle, &max_current, 0, 10) == osOK);
            xTaskNotify(QspiTaskHandle, (uint32_t)max_current, eSetValueWithOverwrite);
        }

        if(status_sens == HAL_ERROR){
            vTaskSuspend(sensTaskHandle);
        }

        osDelay(pdMS_TO_TICKS(15));
    }
  /* USER CODE END StartSensTask */
}

void StartGenWaterTask(void *argument)
{
  /* USER CODE BEGIN StartGenWaterTask */
    printf("Task GEN\n");
//    HAL_TIM_OC_Start(&htim3, TIM_CHANNEL_1);
//    HAL_TIM_OC_Start(&htim3, TIM_CHANNEL_2);
  /* Infinite loop */
  for(;;)
  {
//      for(int i = 1; i < 70; i++){
//
//          TIM3->CCR1 = i;
//          osDelay(pdMS_TO_TICKS(1000));
//          printf("TIM-%d\n",__HAL_TIM_GET_COUNTER(&htim3));
//      }
//      osDelay(pdMS_TO_TICKS(10000));

      HAL_TIM_OC_Start(&htim3, TIM_CHANNEL_1);
//      HAL_TIM_OC_Start(&htim3, TIM_CHANNEL_2);
      printf("TIM-%d\n",__HAL_TIM_GET_COUNTER(&htim3));
      osDelay(pdMS_TO_TICKS(5000));
      HAL_TIM_OC_Stop(&htim3, TIM_CHANNEL_1);
//      HAL_TIM_OC_Stop(&htim3, TIM_CHANNEL_2);
      osDelay(pdMS_TO_TICKS(900000));

  }
  /* USER CODE END StartGenWaterTask */
}

void HAL_TIM_PeriodElapsedCallback(TIM_HandleTypeDef *htim)
{
  if (htim->Instance == TIM6) {
    HAL_IncTick();
  }
}

void Error_Handler(void)
{
  __disable_irq();
  while (1)
  {
  }
}
